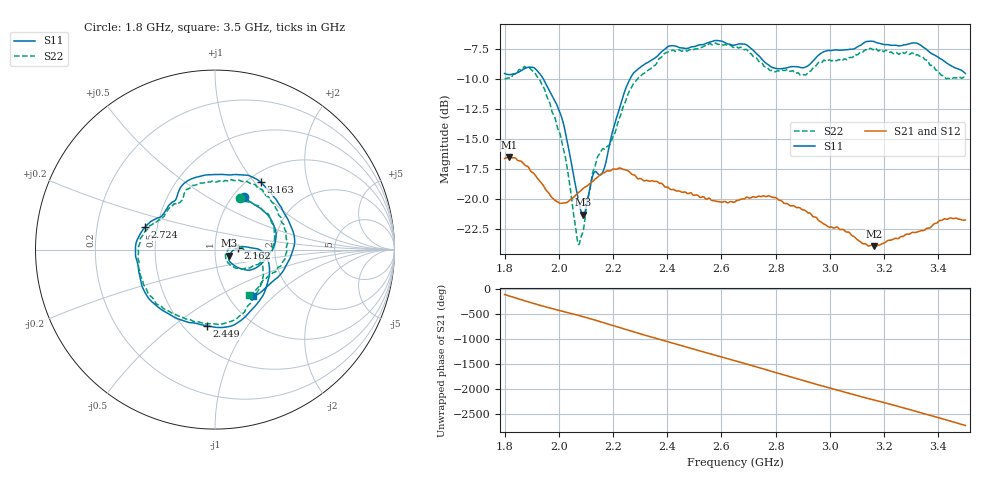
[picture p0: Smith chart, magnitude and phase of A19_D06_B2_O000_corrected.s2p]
! Created with skrf 1.9.0 (http://scikit-rf.org).
# Hz S RI R 50.0
!freq ReS11 ImS11 ReS21 ImS21 ReS12 ImS12 ReS22 ImS22
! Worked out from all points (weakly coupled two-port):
!   1601 points, 1.8 GHz to 3.5 GHz, reference 50 ohm
!   highest |S21| = -16.55 dB at 1.816 GHz (marker M1); lowest = -24.0 dB at 3.163 GHz (marker M2)
!   lowest |S11| = -21.3 dB at 2.09 GHz (marker M3), VSWR 1.19, Z = 58.4 - j3.88 ohm
!   |S11| at or under -10 dB: 1.943 GHz to 2.262 GHz (319.2 MHz wide, 15.2 % of centre)
!   |S22| runs from -23.8 to -7.0 dB; largest |S21 - S12| = 0.0026
!   S11 on the Smith chart (normalised r, x): 1.8 GHz: 1.13, +0.74; 2.162 GHz: 1.29, +0.03; 2.449 GHz: 0.64, -0.67; 2.724 GHz: 0.43, +0.13; 3.163 GHz: 1.15, +1.08; 3.5 GHz: 1.29, -0.75
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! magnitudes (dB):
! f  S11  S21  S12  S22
! 1.8 GHz  -9.5  -16.6  -16.6  -10.0
! 1.816 GHz  -9.6  -16.6  -16.5  -9.9
! 1.88 GHz  -9.1  -17.3  -17.3  -9.1
! 1.942 GHz  -10.0  -18.9  -18.9  -10.6
! 2.013 GHz  -13.4  -20.4  -20.4  -15.4
! 2.067 GHz  -19.5  -19.6  -19.6  -23.2
! 2.084 GHz  -21.2  -19.3  -19.2  -23.1
! 2.09 GHz  -21.3  -19.1  -19.2  -22.6
! 2.128 GHz  -17.9  -18.5  -18.5  -17.6
! 2.162 GHz  -17.8  -17.9  -17.8  -15.8
! 2.196 GHz  -14.5  -17.6  -17.6  -15.0
! 2.259 GHz  -10.2  -17.7  -17.7  -11.1
! 2.367 GHz  -8.0  -18.6  -18.6  -8.4
! 2.449 GHz  -7.4  -19.4  -19.4  -7.6
! 2.65 GHz  -7.2  -20.3  -20.2  -7.3
! 2.724 GHz  -7.8  -19.9  -19.8  -8.2
! 2.8 GHz  -9.1  -19.9  -19.9  -9.4
! 2.934 GHz  -8.6  -21.4  -21.4  -9.2
! 3.163 GHz  -6.9  -24.0  -23.9  -7.5
! 3.217 GHz  -7.1  -23.5  -23.4  -7.8
! 3.324 GHz  -7.0  -22.8  -22.7  -8.0
! 3.5 GHz  -9.5  -21.8  -21.8  -10.0
